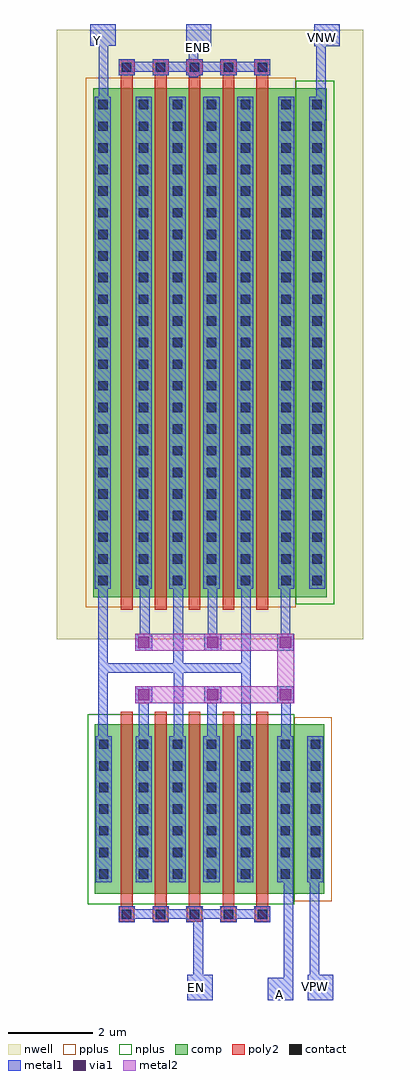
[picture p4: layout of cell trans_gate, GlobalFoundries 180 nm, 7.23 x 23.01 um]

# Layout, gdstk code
from math import pi, radians
import gdstk
lib = gdstk.Library(unit=1e-6, precision=1e-09)
def R(c, l, rs):  # rectangles x0, y0, x1, y1
    for r in rs: c.add(gdstk.rectangle(r[:2], r[2:], *l))
def A(c, l, x, y, w, h, nx, ny, dx, dy):  # array of equal rectangles
    R(c, l, [(x+i*dx, y+j*dy, x+i*dx+w, y+j*dy+h) for i in range(nx) for j in range(ny)])
def P(c, l, *ps):  # polygons
    for p in ps: c.add(gdstk.Polygon(p, *l))
nwell = (21, 0)
comp = (22, 0)
poly2 = (30, 0)
pplus = (31, 0)
nplus = (32, 0)
contact = (33, 0)
metal1 = (34, 0)
via1 = (35, 0)
metal2 = (36, 0)

nfet = lib.new_cell('nfet')
R(nfet, comp, [(-0.42,0,4.99,4)])
P(nfet, poly2, [(0.15,-0.66),(0.15,-0.3),(0.19,-0.3),(0.19,4.3),(0.47,4.3),(0.47,-0.3),(0.51,-0.3),(0.51,-0.66)],
  [(0.95,-0.66),(0.95,-0.3),(0.99,-0.3),(0.99,4.3),(1.27,4.3),(1.27,-0.3),(1.31,-0.3),(1.31,-0.66)],
  [(1.75,-0.66),(1.75,-0.3),(1.79,-0.3),(1.79,4.3),(2.07,4.3),(2.07,-0.3),(2.11,-0.3),(2.11,-0.66)],
  [(2.55,-0.66),(2.55,-0.3),(2.59,-0.3),(2.59,4.3),(2.87,4.3),(2.87,-0.3),(2.91,-0.3),(2.91,-0.66)],
  [(3.35,-0.66),(3.35,-0.3),(3.39,-0.3),(3.39,4.3),(3.67,4.3),(3.67,-0.3),(3.71,-0.3),(3.71,-0.66)])
R(nfet, pplus, [(4.28,-0.17,5.16,4.17)])
R(nfet, nplus, [(-0.59,-0.24,4.28,4.24)])
A(nfet, contact, 0.22, -0.59, 0.22, 0.22, 5, 1, 0.8, 0)
A(nfet, contact, -0.32, 0.36, 0.22, 0.22, 1, 7, 0, 0.51)
A(nfet, contact, 0.62, 0.36, 0.22, 0.22, 4, 7, 0.8, 0.51)
A(nfet, contact, 3.96, 0.36, 0.22, 0.22, 1, 7, 0, 0.51)
A(nfet, contact, 4.67, 0.36, 0.22, 0.22, 1, 7, 0, 0.51)
A(nfet, metal1, 0.14, -0.67, 0.38, 0.38, 5, 1, 0.8, 0)
A(nfet, metal1, 0.54, 0.28, 0.38, 3.44, 4, 1, 0.8, 0)
R(nfet, metal1, [(-0.4,0.28,-0.02,3.72), (3.88,0.28,4.26,3.72), (4.59,0.28,4.97,3.72)])

via_dev = lib.new_cell('via_dev')
R(via_dev, metal1, [(0,0,0.4,0.4)])
R(via_dev, via1, [(0.07,0.07,0.33,0.33)])
R(via_dev, metal2, [(0,0,0.4,0.4)])

pfet = lib.new_cell('pfet')
R(pfet, nwell, [(-1.32,-0.99,5.91,13.37)])
R(pfet, comp, [(-0.46,0,5.05,12)])
P(pfet, poly2, [(0.19,-0.3),(0.19,12.3),(0.14,12.3),(0.14,12.68),(0.52,12.68),(0.52,12.3),(0.47,12.3),(0.47,-0.3)],
  [(0.99,-0.3),(0.99,12.3),(0.94,12.3),(0.94,12.68),(1.32,12.68),(1.32,12.3),(1.27,12.3),(1.27,-0.3)],
  [(1.79,-0.3),(1.79,12.3),(1.74,12.3),(1.74,12.68),(2.12,12.68),(2.12,12.3),(2.07,12.3),(2.07,-0.3)],
  [(2.59,-0.3),(2.59,12.3),(2.54,12.3),(2.54,12.68),(2.92,12.68),(2.92,12.3),(2.87,12.3),(2.87,-0.3)],
  [(3.39,-0.3),(3.39,12.3),(3.34,12.3),(3.34,12.68),(3.72,12.68),(3.72,12.3),(3.67,12.3),(3.67,-0.3)])
R(pfet, pplus, [(-0.63,-0.24,4.32,12.24)])
R(pfet, nplus, [(4.32,-0.17,5.22,12.17)])
A(pfet, contact, -0.34, 0.28, 0.22, 0.22, 1, 23, 0, 0.51)
A(pfet, contact, 0.62, 0.28, 0.22, 0.22, 4, 23, 0.8, 0.51)
A(pfet, contact, 3.98, 0.28, 0.22, 0.22, 1, 23, 0, 0.51)
A(pfet, contact, 4.71, 0.28, 0.22, 0.22, 1, 23, 0, 0.51)
A(pfet, contact, 0.22, 12.38, 0.22, 0.22, 5, 1, 0.8, 0)
A(pfet, metal1, 0.54, 0.2, 0.38, 11.6, 4, 1, 0.8, 0)
A(pfet, metal1, 0.14, 12.3, 0.38, 0.38, 5, 1, 0.8, 0)
R(pfet, metal1, [(-0.42,0.2,-0.04,11.8), (3.9,0.2,4.28,11.8), (4.63,0.2,5.01,11.8)])

trans_gate = lib.new_cell('trans_gate')
R(trans_gate, metal1, [(-0.24,-6.5,0.36,-5.9), (1.66,-6.5,2.26,-5.98), (2.6,-6.5,3.2,-5.9), (2.645,-5.98,2.875,-3.42), (2.795,14.24,3.025,16), (-0.21,15.26,0.02,16.04), (2.75,15.98,3.35,16.5), (-0.27,15.99,0.33,16.5), (-2.53,16,-1.93,16.51)])
trans_gate.add(gdstk.FlexPath([(-2.215,16.37),(-2.215,13.68)], 0.23, ends="flush", simple_path=True, layer=34, datatype=0))  # metal1
trans_gate.add(gdstk.FlexPath([(2.145,-6.2),(2.145,-3.6)], 0.23, ends="flush", simple_path=True, layer=34, datatype=0))  # metal1
trans_gate.add(gdstk.FlexPath([(-1.245,3.46),(-1.245,1.9)], 0.23, ends="flush", simple_path=True, layer=34, datatype=0))  # metal1
trans_gate.add(gdstk.FlexPath([(1.145,3.47),(1.145,1.07)], 0.23, ends="flush", simple_path=True, layer=34, datatype=0))  # metal1
trans_gate.add(gdstk.FlexPath([(-0.455,3.47),(-0.455,1.35)], 0.23, ends="flush", simple_path=True, layer=34, datatype=0))  # metal1
trans_gate.add(gdstk.FlexPath([(-1.265,-0.44),(-1.265,0.72)], 0.23, ends="flush", simple_path=True, layer=34, datatype=0))  # metal1
trans_gate.add(gdstk.FlexPath([(0.345,-0.43),(0.345,0.69)], 0.23, ends="flush", simple_path=True, layer=34, datatype=0))  # metal1
trans_gate.add(gdstk.FlexPath([(2.085,-0.44),(2.085,0.74)], 0.23, ends="flush", simple_path=True, layer=34, datatype=0))  # metal1
trans_gate.add(gdstk.FlexPath([(1.145,-0.45),(1.145,1.33),(-2.225,1.33),(-2.225,3.52)], 0.23, ends="flush", simple_path=True, layer=34, datatype=0))  # metal1
trans_gate.add(gdstk.FlexPath([(-2.225,1.29),(-2.225,-0.57)], 0.23, ends="flush", simple_path=True, layer=34, datatype=0))  # metal1
trans_gate.add(gdstk.FlexPath([(-0.45,-0.43),(-0.45,1.32)], 0.23, ends="flush", simple_path=True, layer=34, datatype=0))  # metal1
trans_gate.add(gdstk.FlexPath([(-1.6,15.505),(1.7,15.505)], 0.23, ends="flush", simple_path=True, layer=34, datatype=0))  # metal1
trans_gate.add(gdstk.FlexPath([(2.075,1.99),(2.075,3.52)], 0.23, ends="flush", simple_path=True, layer=34, datatype=0))  # metal1
trans_gate.add(gdstk.FlexPath([(0.355,2.07),(0.355,3.46)], 0.23, ends="flush", simple_path=True, layer=34, datatype=0))  # metal1
trans_gate.add(gdstk.FlexPath([(-1.67,-4.475),(1.63,-4.475)], 0.23, ends="flush", simple_path=True, layer=34, datatype=0))  # metal1
trans_gate.add(gdstk.FlexPath([(0.015,-4.47),(0.015,-6.21)], 0.23, ends="flush", simple_path=True, layer=34, datatype=0))  # metal1
trans_gate.add(gdstk.FlexPath([(2.08,0.5),(2.08,2.13)], 0.4, ends="flush", simple_path=True, layer=36, datatype=0))  # metal2
trans_gate.add(gdstk.FlexPath([(-1.255,1.93),(2.155,1.93)], 0.4, ends="flush", simple_path=True, layer=36, datatype=0))  # metal2
trans_gate.add(gdstk.FlexPath([(-1.255,0.7),(2.155,0.7)], 0.4, ends="flush", simple_path=True, layer=36, datatype=0))  # metal2
trans_gate.add(gdstk.Reference(nfet, (-2,-4)))
trans_gate.add(gdstk.Reference(via_dev, (0.565,1.73), rotation=pi/2))
trans_gate.add(gdstk.Reference(via_dev, (2.275,1.73), rotation=pi/2))
trans_gate.add(gdstk.Reference(via_dev, (-1.065,1.73), rotation=pi/2))
trans_gate.add(gdstk.Reference(via_dev, (0.565,0.5), rotation=pi/2))
trans_gate.add(gdstk.Reference(via_dev, (2.275,0.5), rotation=pi/2))
trans_gate.add(gdstk.Reference(via_dev, (-1.065,0.5), rotation=pi/2))
trans_gate.add(gdstk.Reference(pfet, (-2,3)))
trans_gate.add(gdstk.Label('Y', (-2.355,16.125), layer=34, texttype=10))
trans_gate.add(gdstk.Label('A', (1.94,-6.38), layer=34, texttype=10))
trans_gate.add(gdstk.Label('VNW', (2.95,16.18), layer=34, texttype=10))
trans_gate.add(gdstk.Label('VPW', (2.775,-6.19), layer=34, texttype=10))
trans_gate.add(gdstk.Label('ENB', (0.02,15.96), layer=34, texttype=10))
trans_gate.add(gdstk.Label('EN', (-0.02,-6.21), layer=34, texttype=10))

lib.write_gds('trans_gate.gds')
